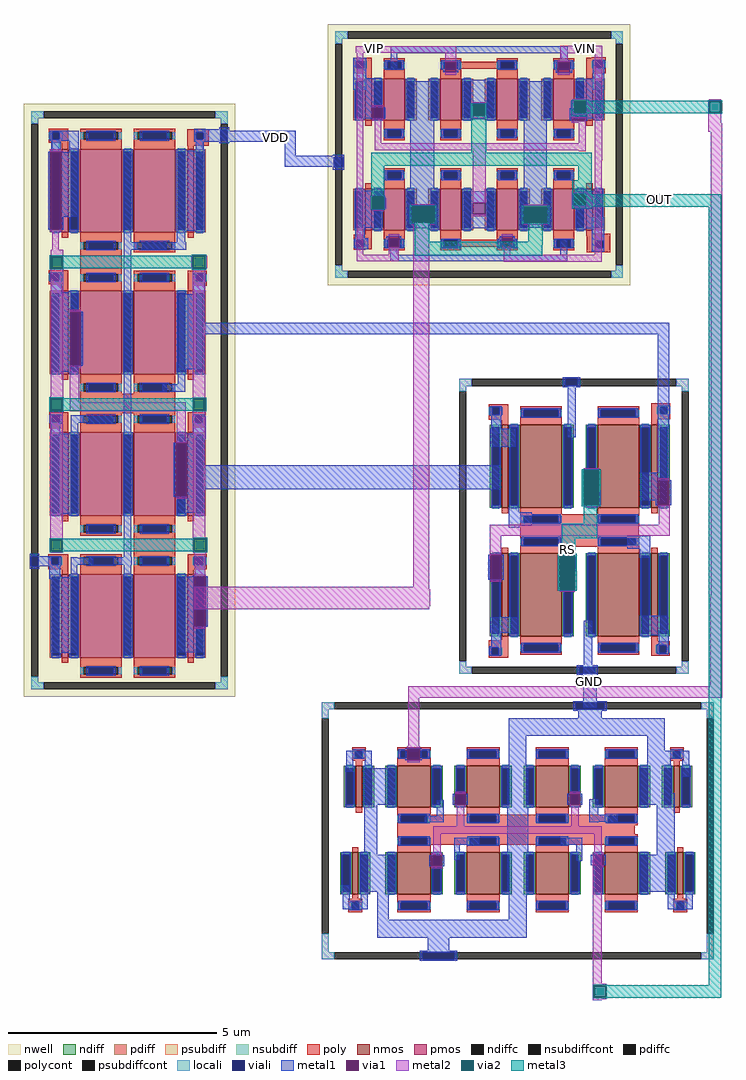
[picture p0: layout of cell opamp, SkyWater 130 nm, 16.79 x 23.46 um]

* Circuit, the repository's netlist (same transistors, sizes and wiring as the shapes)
* NGSPICE file created from opamp.ext - technology: sky130A

.subckt sky130_fd_pr__pfet_01v8_2ZH9AN a_15_n200# a_n15_n226# a_n73_n200# w_n109_n262#
X0 a_15_n200# a_n15_n226# a_n73_n200# w_n109_n262# sky130_fd_pr__pfet_01v8 ad=0.58 pd=4.58 as=0.58 ps=4.58 w=2 l=0.15
.ends

.subckt sky130_fd_pr__pfet_01v8_SDE6B7 a_29_n297# a_n287_n200# a_n229_n297# a_229_n200#
+ a_n29_n200# w_n323_n300#
X0 a_229_n200# a_29_n297# a_n29_n200# w_n323_n300# sky130_fd_pr__pfet_01v8 ad=0.58 pd=4.58 as=0.29 ps=2.29 w=2 l=1
X1 a_n29_n200# a_n229_n297# a_n287_n200# w_n323_n300# sky130_fd_pr__pfet_01v8 ad=0.29 pd=2.29 as=0.58 ps=4.58 w=2 l=1
.ends

.subckt pmoscs VDD D2 D5 D1
Xsky130_fd_pr__pfet_01v8_2ZH9AN_8 VDD VDD VDD VDD sky130_fd_pr__pfet_01v8_2ZH9AN
Xsky130_fd_pr__pfet_01v8_2ZH9AN_9 D5 D5 D5 VDD sky130_fd_pr__pfet_01v8_2ZH9AN
Xsky130_fd_pr__pfet_01v8_2ZH9AN_10 D2 D2 D2 VDD sky130_fd_pr__pfet_01v8_2ZH9AN
Xsky130_fd_pr__pfet_01v8_2ZH9AN_11 D1 D1 D1 VDD sky130_fd_pr__pfet_01v8_2ZH9AN
Xsky130_fd_pr__pfet_01v8_2ZH9AN_12 D1 D1 D1 VDD sky130_fd_pr__pfet_01v8_2ZH9AN
Xsky130_fd_pr__pfet_01v8_2ZH9AN_13 D2 D2 D2 VDD sky130_fd_pr__pfet_01v8_2ZH9AN
Xsky130_fd_pr__pfet_01v8_2ZH9AN_14 VDD VDD VDD VDD sky130_fd_pr__pfet_01v8_2ZH9AN
Xsky130_fd_pr__pfet_01v8_2ZH9AN_15 D5 D5 D5 VDD sky130_fd_pr__pfet_01v8_2ZH9AN
Xsky130_fd_pr__pfet_01v8_SDE6B7_4 VDD D5 D2 VDD VDD VDD sky130_fd_pr__pfet_01v8_SDE6B7
Xsky130_fd_pr__pfet_01v8_SDE6B7_5 D2 D1 D2 D2 VDD VDD sky130_fd_pr__pfet_01v8_SDE6B7
Xsky130_fd_pr__pfet_01v8_SDE6B7_6 D2 D2 D2 D1 VDD VDD sky130_fd_pr__pfet_01v8_SDE6B7
Xsky130_fd_pr__pfet_01v8_SDE6B7_7 D2 VDD VDD D5 VDD VDD sky130_fd_pr__pfet_01v8_SDE6B7
.ends

.subckt sky130_fd_pr__pfet_01v8_BH5GQ5 a_n244_n100# a_300_n100# a_86_n197# w_n552_n200#
+ a_28_n100# a_n186_n197# a_n358_n100# a_186_n100# a_n516_n100# a_358_n197# a_n458_n197#
+ a_458_n100# a_n86_n100#
X0 a_458_n100# a_358_n197# a_300_n100# w_n552_n200# sky130_fd_pr__pfet_01v8 ad=0.29 pd=2.58 as=0.29 ps=2.58 w=1 l=0.5
X1 a_186_n100# a_86_n197# a_28_n100# w_n552_n200# sky130_fd_pr__pfet_01v8 ad=0.29 pd=2.58 as=0.29 ps=2.58 w=1 l=0.5
X2 a_n86_n100# a_n186_n197# a_n244_n100# w_n552_n200# sky130_fd_pr__pfet_01v8 ad=0.29 pd=2.58 as=0.29 ps=2.58 w=1 l=0.5
X3 a_n358_n100# a_n458_n197# a_n516_n100# w_n552_n200# sky130_fd_pr__pfet_01v8 ad=0.29 pd=2.58 as=0.29 ps=2.58 w=1 l=0.5
.ends

.subckt sky130_fd_pr__pfet_01v8_2XUZHN a_n73_n100# w_n109_n162# a_15_n100# a_n15_n126#
X0 a_15_n100# a_n15_n126# a_n73_n100# w_n109_n162# sky130_fd_pr__pfet_01v8 ad=0.29 pd=2.58 as=0.29 ps=2.58 w=1 l=0.15
.ends

.subckt pmos67 VDD VIP VIN D6 D7 S
Xsky130_fd_pr__pfet_01v8_BH5GQ5_1 S S VIN VDD D6 VIN S S D7 VIP VIP D7 D6 sky130_fd_pr__pfet_01v8_BH5GQ5
Xsky130_fd_pr__pfet_01v8_BH5GQ5_2 S S VIP VDD D7 VIP S S D6 VIN VIN D6 D7 sky130_fd_pr__pfet_01v8_BH5GQ5
Xsky130_fd_pr__pfet_01v8_2XUZHN_0 D6 VDD D6 D6 sky130_fd_pr__pfet_01v8_2XUZHN
Xsky130_fd_pr__pfet_01v8_2XUZHN_1 D6 VDD D6 D6 sky130_fd_pr__pfet_01v8_2XUZHN
Xsky130_fd_pr__pfet_01v8_2XUZHN_2 D7 VDD D7 D7 sky130_fd_pr__pfet_01v8_2XUZHN
Xsky130_fd_pr__pfet_01v8_2XUZHN_3 D7 VDD D7 D7 sky130_fd_pr__pfet_01v8_2XUZHN
.ends

.subckt sky130_fd_pr__nfet_01v8_C77M8X a_n304_109# a_n578_21# a_n418_109# a_246_109#
+ a_28_109# a_578_n309# a_360_109# a_n636_109# a_86_21# a_578_109# a_418_21# a_n246_21#
+ a_n86_n309# a_86_n397# a_n246_n397# a_360_n309# a_n86_109# a_n304_n309# a_n418_n309#
+ a_418_n397# a_28_n309# a_n578_n397# a_246_n309# a_n636_n309# VSUBS
X0 a_246_109# a_86_21# a_28_109# VSUBS sky130_fd_pr__nfet_01v8 ad=0.29 pd=2.58 as=0.29 ps=2.58 w=1 l=0.8
X1 a_578_n309# a_418_n397# a_360_n309# VSUBS sky130_fd_pr__nfet_01v8 ad=0.29 pd=2.58 as=0.29 ps=2.58 w=1 l=0.8
X2 a_246_n309# a_86_n397# a_28_n309# VSUBS sky130_fd_pr__nfet_01v8 ad=0.29 pd=2.58 as=0.29 ps=2.58 w=1 l=0.8
X3 a_n418_n309# a_n578_n397# a_n636_n309# VSUBS sky130_fd_pr__nfet_01v8 ad=0.29 pd=2.58 as=0.29 ps=2.58 w=1 l=0.8
X4 a_n86_n309# a_n246_n397# a_n304_n309# VSUBS sky130_fd_pr__nfet_01v8 ad=0.29 pd=2.58 as=0.29 ps=2.58 w=1 l=0.8
X5 a_578_109# a_418_21# a_360_109# VSUBS sky130_fd_pr__nfet_01v8 ad=0.29 pd=2.58 as=0.29 ps=2.58 w=1 l=0.8
X6 a_n418_109# a_n578_21# a_n636_109# VSUBS sky130_fd_pr__nfet_01v8 ad=0.29 pd=2.58 as=0.29 ps=2.58 w=1 l=0.8
X7 a_n86_109# a_n246_21# a_n304_109# VSUBS sky130_fd_pr__nfet_01v8 ad=0.29 pd=2.58 as=0.29 ps=2.58 w=1 l=0.8
.ends

.subckt sky130_fd_pr__nfet_01v8_UPT43B a_15_n131# a_n33_91# a_n73_n131# VSUBS
X0 a_15_n131# a_n33_91# a_n73_n131# VSUBS sky130_fd_pr__nfet_01v8 ad=0.29 pd=2.58 as=0.29 ps=2.58 w=1 l=0.15
.ends

.subckt nmos89 GND D8 D9
Xsky130_fd_pr__nfet_01v8_C77M8X_0 D9 D8 D8 D9 GND GND D8 GND D8 GND D8 D8 GND D8 D8
+ D9 GND D8 D9 D8 GND D8 D8 GND GND sky130_fd_pr__nfet_01v8_C77M8X
Xsky130_fd_pr__nfet_01v8_UPT43B_0 GND GND GND GND sky130_fd_pr__nfet_01v8_UPT43B
Xsky130_fd_pr__nfet_01v8_UPT43B_1 GND GND GND GND sky130_fd_pr__nfet_01v8_UPT43B
Xsky130_fd_pr__nfet_01v8_UPT43B_2 GND GND GND GND sky130_fd_pr__nfet_01v8_UPT43B
Xsky130_fd_pr__nfet_01v8_UPT43B_3 GND GND GND GND sky130_fd_pr__nfet_01v8_UPT43B
.ends

.subckt sky130_fd_pr__nfet_01v8_6C7GGL a_15_n200# a_n15_n226# a_n73_n200# VSUBS
X0 a_15_n200# a_n15_n226# a_n73_n200# VSUBS sky130_fd_pr__nfet_01v8 ad=0.58 pd=4.58 as=0.58 ps=4.58 w=2 l=0.15
.ends

.subckt sky130_fd_pr__nfet_01v8_T4466P a_n286_n597# a_28_109# a_n344_109# a_28_n509#
+ a_n344_n509# a_86_21# a_286_109# a_286_n509# a_n86_109# a_n286_21# a_n86_n509# a_86_n597#
+ VSUBS
X0 a_286_109# a_86_21# a_28_109# VSUBS sky130_fd_pr__nfet_01v8 ad=0.58 pd=4.58 as=0.58 ps=4.58 w=2 l=1
X1 a_n86_n509# a_n286_n597# a_n344_n509# VSUBS sky130_fd_pr__nfet_01v8 ad=0.58 pd=4.58 as=0.58 ps=4.58 w=2 l=1
X2 a_286_n509# a_86_n597# a_28_n509# VSUBS sky130_fd_pr__nfet_01v8 ad=0.58 pd=4.58 as=0.58 ps=4.58 w=2 l=1
X3 a_n86_109# a_n286_21# a_n344_109# VSUBS sky130_fd_pr__nfet_01v8 ad=0.58 pd=4.58 as=0.58 ps=4.58 w=2 l=1
.ends

.subckt nmos34 RS GND D3 D4
Xsky130_fd_pr__nfet_01v8_6C7GGL_0 D3 D3 D3 GND sky130_fd_pr__nfet_01v8_6C7GGL
Xsky130_fd_pr__nfet_01v8_6C7GGL_1 D3 D3 D3 GND sky130_fd_pr__nfet_01v8_6C7GGL
Xsky130_fd_pr__nfet_01v8_6C7GGL_2 D4 D4 D4 GND sky130_fd_pr__nfet_01v8_6C7GGL
Xsky130_fd_pr__nfet_01v8_6C7GGL_3 D4 D4 D4 GND sky130_fd_pr__nfet_01v8_6C7GGL
Xsky130_fd_pr__nfet_01v8_T4466P_0 D3 RS D3 GND D4 D3 D4 D3 GND D3 RS D3 GND sky130_fd_pr__nfet_01v8_T4466P
.ends

.subckt opamp VIN VIP VDD GND RS OUT
Xpmoscs_0 VDD pmoscs_0/D2 pmos67_0/S pmoscs_0/D1 pmoscs
Xpmos67_0 VDD VIP VIN pmos67_0/D6 OUT pmos67_0/S pmos67
Xnmos89_0 GND pmos67_0/D6 OUT nmos89
Xnmos34_0 RS GND pmoscs_0/D1 pmoscs_0/D2 nmos34
.ends

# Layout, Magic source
magic
tech sky130A
magscale 1 2
<< metal1 >>
rect 940 2722 986 2724
rect 940 2668 1308 2722
rect 1254 2601 1308 2668
rect 1254 2547 1526 2601
rect 817 1744 3102 1798
rect 811 998 2291 1113
rect 3048 932 3102 1744
rect 2689 -52 2755 144
rect 1833 -304 1843 -247
rect 1904 -304 1914 -247
<< via1 >>
rect 1843 -304 1904 -247
<< metal2 >>
rect 2646 2872 2702 2874
rect 2636 2864 2702 2872
rect 3294 2866 3350 2872
rect 2636 2808 2646 2864
rect 2636 2780 2702 2808
rect 3291 2863 3353 2866
rect 3291 2807 3294 2863
rect 3350 2807 3353 2863
rect 3291 2756 3353 2807
rect 3291 2717 3357 2756
rect 817 1110 873 1116
rect 817 1040 873 1041
rect 1873 530 1950 2337
rect 820 517 1950 530
rect 820 436 1954 517
rect 3301 487 3357 2717
rect 820 422 1948 436
rect 3300 50 3357 487
rect 1847 -4 3357 50
rect 1847 -237 1901 -4
rect 3301 -5 3357 -4
rect 1843 -247 1904 -237
rect 1843 -314 1904 -304
rect 2735 -1379 2779 -754
rect 2735 -1388 2799 -1379
rect 2735 -1444 2743 -1388
rect 2735 -1453 2799 -1444
rect 2735 -1457 2779 -1453
<< via2 >>
rect 2646 2808 2702 2864
rect 3294 2807 3350 2863
rect 2743 -1444 2799 -1388
<< metal3 >>
rect 2636 2868 2712 2869
rect 2634 2866 2712 2868
rect 3289 2866 3355 2868
rect 2632 2864 3356 2866
rect 2632 2808 2646 2864
rect 2702 2863 3356 2864
rect 2702 2808 3294 2863
rect 2632 2807 3294 2808
rect 3350 2807 3356 2863
rect 2632 2804 3356 2807
rect 2634 2803 2712 2804
rect 2634 2790 2708 2803
rect 3289 2802 3355 2804
rect 2648 2355 3352 2415
rect 2738 -1386 2804 -1383
rect 3292 -1386 3352 2355
rect 2738 -1388 3352 -1386
rect 2738 -1444 2743 -1388
rect 2799 -1444 3352 -1388
rect 2738 -1446 3352 -1444
rect 2738 -1449 2804 -1446
use nmos34  nmos34_0
transform 1 0 2328 0 1 203
box -235 -98 869 1334
use nmos89  nmos89_0
transform 1 0 1738 0 1 -1036
box -306 -232 1579 1016
use pmos67  pmos67_0
transform -1 0 2740 0 1 2672
box -176 -694 1280 562
use pmoscs  pmoscs_0
transform 1 0 39 0 1 -247
box -39 247 977 3097
<< labels >>
flabel metal2 s 2698 3116 2698 3116 0 FreeSans 160 0 0 0 VIN
port 0 nsew
flabel metal2 s 1688 3114 1688 3116 0 FreeSans 160 0 0 0 VIP
port 1 nsew
flabel metal1 s 1210 2688 1210 2688 0 FreeSans 160 0 0 0 VDD
port 2 nsew
flabel metal1 s 2720 72 2720 72 0 FreeSans 160 0 0 0 GND
port 3 nsew
flabel metal3 s 2614 710 2614 710 0 FreeSans 160 0 0 0 RS
port 4 nsew
flabel metal3 s 3054 2390 3054 2390 0 FreeSans 160 0 0 0 OUT
port 5 nsew
<< end >>

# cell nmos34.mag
magic
tech sky130A
magscale 1 2
<< psubdiff >>
rect -235 1291 -175 1325
rect 809 1291 869 1325
rect -235 1265 -201 1291
rect 835 1265 869 1291
rect -235 -59 -201 -33
rect 835 -59 869 -33
rect -235 -93 -175 -59
rect 809 -93 869 -59
<< psubdiffcont >>
rect -175 1291 809 1325
rect -235 -33 -201 1265
rect 835 -33 869 1265
rect -175 -93 809 -59
<< poly >>
rect -92 1188 0 1204
rect -92 1154 -76 1188
rect -42 1154 0 1188
rect -92 1130 0 1154
rect 688 1192 780 1208
rect 688 1158 730 1192
rect 764 1158 780 1192
rect 688 1132 780 1158
rect 58 518 628 674
rect -94 34 0 68
rect -94 0 -78 34
rect -44 0 0 34
rect -94 -16 0 0
rect 688 44 776 64
rect 688 10 726 44
rect 760 10 776 44
rect 688 -6 776 10
<< polycont >>
rect -76 1154 -42 1188
rect 730 1158 764 1192
rect -78 0 -44 34
rect 726 10 760 44
<< locali >>
rect -235 1291 -175 1325
rect 809 1291 869 1325
rect -235 1265 -201 1291
rect 835 1265 869 1291
rect 720 1192 772 1198
rect -82 1188 -34 1190
rect -92 1154 -76 1188
rect -42 1154 -26 1188
rect 714 1158 730 1192
rect 764 1158 780 1192
rect -82 1064 -34 1154
rect 720 1084 772 1158
rect -82 34 -32 138
rect 724 44 772 116
rect -94 0 -78 34
rect -44 0 -28 34
rect 710 10 726 44
rect 760 10 776 44
rect 724 2 772 10
rect -82 -6 -32 0
rect -235 -59 -201 -33
rect 835 -59 869 -33
rect -235 -93 -175 -59
rect 809 -93 869 -59
<< viali >>
rect 274 1325 334 1328
rect 274 1292 334 1325
rect -76 1154 -42 1188
rect 730 1158 764 1192
rect -78 0 -44 34
rect 726 10 760 44
rect 342 -59 418 -58
rect 342 -92 418 -59
<< metal1 >>
rect 262 1328 346 1334
rect 262 1292 274 1328
rect 334 1292 346 1328
rect 262 1286 346 1292
rect -88 1188 -30 1194
rect -88 1154 -76 1188
rect -42 1154 -30 1188
rect -88 1148 -30 1154
rect -82 1086 -34 1148
rect -86 998 36 1086
rect 286 1044 326 1286
rect 718 1192 776 1198
rect 718 1158 730 1192
rect 764 1158 776 1192
rect 718 1152 776 1158
rect 720 1084 772 1152
rect 638 838 770 874
rect 364 718 374 790
rect 430 718 440 790
rect 638 742 720 838
rect 710 718 720 742
rect 774 718 784 838
rect 2 684 54 706
rect 2 620 114 684
rect 2 610 54 620
rect 572 508 684 572
rect -96 360 -86 480
rect -32 360 -22 480
rect 248 400 258 472
rect 314 400 324 472
rect 632 466 684 508
rect -86 104 46 180
rect -82 40 -32 104
rect -90 34 -32 40
rect -90 0 -78 34
rect -44 0 -32 34
rect -90 -6 -32 0
rect 364 -52 404 164
rect 632 116 768 188
rect 632 92 772 116
rect 724 50 772 92
rect 714 44 772 50
rect 714 10 726 44
rect 760 10 772 44
rect 714 4 772 10
rect 724 2 772 4
rect 330 -58 430 -52
rect 330 -92 342 -58
rect 418 -92 430 -58
rect 330 -98 430 -92
<< via1 >>
rect 374 718 430 790
rect 720 718 774 838
rect -86 360 -32 480
rect 258 400 314 472
<< metal2 >>
rect 364 886 436 896
rect 364 708 436 718
rect 720 838 774 848
rect 774 718 777 743
rect 720 708 777 718
rect 723 625 777 708
rect -88 571 777 625
rect -88 490 -34 571
rect -88 480 -32 490
rect -88 458 -86 480
rect -86 350 -32 360
rect 248 480 320 490
rect 248 302 320 312
<< via2 >>
rect 364 790 436 886
rect 364 718 374 790
rect 374 718 430 790
rect 430 718 436 790
rect 248 472 320 480
rect 248 400 258 472
rect 258 400 314 472
rect 314 400 320 472
rect 248 312 320 400
<< metal3 >>
rect 354 886 446 891
rect 354 718 364 886
rect 436 718 446 886
rect 354 713 446 718
rect 364 630 428 713
rect 258 560 428 630
rect 258 485 322 560
rect 238 480 330 485
rect 238 312 248 480
rect 320 312 330 480
rect 238 307 330 312
use sky130_fd_pr__nfet_01v8_6C7GGL  sky130_fd_pr__nfet_01v8_6C7GGL_0
transform 1 0 703 0 1 288
box -73 -226 73 226
use sky130_fd_pr__nfet_01v8_6C7GGL  sky130_fd_pr__nfet_01v8_6C7GGL_1
transform 1 0 -15 0 1 906
box -73 -226 73 226
use sky130_fd_pr__nfet_01v8_6C7GGL  sky130_fd_pr__nfet_01v8_6C7GGL_2
transform 1 0 703 0 1 906
box -73 -226 73 226
use sky130_fd_pr__nfet_01v8_6C7GGL  sky130_fd_pr__nfet_01v8_6C7GGL_3
transform 1 0 -15 0 1 288
box -73 -226 73 226
use sky130_fd_pr__nfet_01v8_T4466P  sky130_fd_pr__nfet_01v8_T4466P_0
transform 1 0 344 0 1 597
box -344 -597 344 597
<< labels >>
flabel metal1 16 664 18 664 0 FreeSans 80 0 0 0 D3
port 0 nsew
flabel metal2 732 646 732 646 0 FreeSans 80 0 0 0 D4
port 1 nsew
flabel metal3 374 688 376 688 0 FreeSans 80 0 0 0 RS
port 2 nsew
flabel metal1 382 2 390 10 0 FreeSans 80 0 0 0 GND
port 3 nsew
<< end >>

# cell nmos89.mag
magic
tech sky130A
magscale 1 2
<< psubdiff >>
rect -306 976 -246 1010
rect 1519 976 1579 1010
rect -306 933 -272 976
rect 1545 933 1579 976
rect -306 -191 -272 -103
rect 1545 -191 1579 -103
rect -306 -225 -246 -191
rect 1519 -225 1579 -191
<< psubdiffcont >>
rect -246 976 1519 1010
rect -306 -103 -272 933
rect 1545 -103 1579 933
rect -246 -225 1519 -191
<< poly >>
rect 56 326 1198 470
<< locali >>
rect -306 976 -246 1010
rect 1519 976 1579 1010
rect -306 933 -272 976
rect -306 -191 -272 -103
rect 1545 933 1579 976
rect 1545 -191 1579 -103
rect -306 -225 -246 -191
rect 1519 -225 1579 -191
<< viali >>
rect 914 976 1053 1010
rect 177 -225 333 -191
rect 177 -226 333 -225
<< metal1 >>
rect 902 1010 1065 1016
rect 902 976 914 1010
rect 1053 976 1065 1010
rect 902 970 1065 976
rect 928 932 1039 970
rect 594 848 1342 932
rect -188 744 -66 778
rect -188 676 -154 744
rect -100 694 -66 744
rect 594 694 678 848
rect 1258 778 1342 848
rect 1258 744 1460 778
rect 1258 694 1372 744
rect -100 575 46 694
rect -101 518 46 575
rect -101 276 -38 518
rect 246 462 281 540
rect 325 518 335 570
rect 387 518 397 570
rect 192 458 281 462
rect 189 434 281 458
rect 330 326 450 360
rect -206 50 -172 130
rect -120 100 46 276
rect 211 222 221 274
rect 273 222 283 274
rect 330 254 358 326
rect 586 100 686 694
rect 1224 572 1372 694
rect 1426 652 1460 744
rect 875 518 885 570
rect 937 518 947 570
rect 981 469 1023 544
rect 1224 518 1390 572
rect 981 435 1118 469
rect 981 434 1023 435
rect 843 326 946 360
rect 917 248 946 326
rect 988 226 998 278
rect 1050 226 1060 278
rect 1304 276 1390 518
rect 1226 100 1390 276
rect -118 50 -84 100
rect -206 16 -84 50
rect -39 -25 15 100
rect -38 -35 15 -25
rect 594 -35 680 100
rect 1356 50 1390 100
rect 1444 50 1478 102
rect 1356 16 1478 50
rect -38 -121 680 -35
rect 204 -185 307 -121
rect 165 -191 345 -185
rect 165 -226 177 -191
rect 333 -226 345 -191
rect 165 -232 345 -226
<< via1 >>
rect 335 518 387 570
rect 221 222 273 274
rect 885 518 937 570
rect 998 226 1050 278
<< metal2 >>
rect 335 570 387 580
rect 335 508 387 518
rect 885 570 937 580
rect 885 508 937 518
rect 344 414 380 508
rect 894 414 930 508
rect 344 413 930 414
rect 231 377 1041 413
rect 231 284 267 377
rect 1005 288 1041 377
rect 221 274 273 284
rect 221 212 273 222
rect 998 278 1050 288
rect 998 216 1050 226
use sky130_fd_pr__nfet_01v8_C77M8X  sky130_fd_pr__nfet_01v8_C77M8X_0
transform 1 0 636 0 1 397
box -636 -397 636 397
use sky130_fd_pr__nfet_01v8_UPT43B  sky130_fd_pr__nfet_01v8_UPT43B_0
transform 1 0 1417 0 -1 157
box -73 -157 73 157
use sky130_fd_pr__nfet_01v8_UPT43B  sky130_fd_pr__nfet_01v8_UPT43B_1
transform 1 0 -127 0 1 637
box -73 -157 73 157
use sky130_fd_pr__nfet_01v8_UPT43B  sky130_fd_pr__nfet_01v8_UPT43B_2
transform 1 0 1401 0 1 637
box -73 -157 73 157
use sky130_fd_pr__nfet_01v8_UPT43B  sky130_fd_pr__nfet_01v8_UPT43B_3
transform 1 0 -145 0 -1 157
box -73 -157 73 157
<< labels >>
flabel viali 948 996 948 996 0 FreeSans 320 0 0 0 GND
port 0 nsew
flabel metal1 262 516 262 516 0 FreeSans 320 0 0 0 D8
port 1 nsew
flabel via1 914 550 914 550 0 FreeSans 320 0 0 0 D9
port 2 nsew
<< end >>

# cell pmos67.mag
magic
tech sky130A
magscale 1 2
<< nwell >>
rect -176 -694 1280 562
<< nsubdiff >>
rect -140 492 -83 526
rect 1184 492 1244 526
rect -140 466 -106 492
rect 1210 466 1244 492
rect -140 -624 -106 -598
rect 1210 -624 1244 -598
rect -140 -658 -83 -624
rect 1184 -658 1244 -624
<< nsubdiffcont >>
rect -83 492 1184 526
rect -140 -598 -106 466
rect 1210 -598 1244 466
rect -83 -658 1184 -624
<< poly >>
rect -56 400 10 401
rect -56 385 37 400
rect -56 351 -40 385
rect -6 351 37 385
rect 1067 384 1154 400
rect -56 326 37 351
rect 382 346 721 380
rect 1067 350 1107 384
rect 1141 350 1154 384
rect 1067 325 1154 350
rect -79 -480 35 -447
rect -79 -493 -45 -480
rect -78 -514 -45 -493
rect -11 -514 35 -480
rect 382 -509 722 -475
rect 1068 -476 1155 -450
rect -78 -534 35 -514
rect 1068 -510 1105 -476
rect 1139 -510 1155 -476
rect 1068 -521 1155 -510
rect 1099 -523 1155 -521
<< polycont >>
rect -40 351 -6 385
rect 1107 350 1141 384
rect -45 -514 -11 -480
rect 1105 -510 1139 -476
<< locali >>
rect -140 492 -83 526
rect 1184 492 1244 526
rect -140 466 -106 492
rect 1210 466 1244 492
rect -56 351 -40 385
rect -6 351 10 385
rect 1095 384 1156 400
rect -49 314 6 351
rect 1091 350 1107 384
rect 1141 350 1156 384
rect -51 247 6 314
rect 1095 246 1156 350
rect -49 -370 9 -367
rect -49 -480 10 -370
rect 1100 -468 1148 -402
rect -51 -514 -45 -480
rect -11 -514 10 -480
rect -49 -533 10 -514
rect 1084 -476 1148 -468
rect 1084 -510 1105 -476
rect 1139 -510 1155 -476
rect 1084 -512 1148 -510
rect 1084 -521 1144 -512
rect -140 -624 -106 -598
rect 1210 -624 1244 -598
rect -140 -658 -83 -624
rect 1184 -658 1244 -624
<< viali >>
rect -40 351 -6 385
rect 1107 350 1141 384
rect 1206 -126 1210 -78
rect 1210 -126 1244 -78
rect 1244 -126 1250 -78
rect -45 -514 -11 -480
rect 1105 -510 1139 -476
<< metal1 >>
rect 126 454 671 455
rect 126 422 976 454
rect -52 385 6 391
rect -52 351 -40 385
rect -6 351 6 385
rect 126 381 159 422
rect -52 345 6 351
rect -49 314 6 345
rect 105 327 115 381
rect 173 327 183 381
rect 652 329 662 381
rect 714 329 724 381
rect 944 347 976 422
rect 1095 384 1156 400
rect 1095 350 1107 384
rect 1141 350 1156 384
rect -51 298 6 314
rect 1095 302 1156 350
rect -51 247 82 298
rect -48 157 82 247
rect -48 108 41 157
rect 31 98 41 108
rect 106 98 116 157
rect 205 111 351 287
rect 475 172 627 294
rect 475 120 527 172
rect 579 120 627 172
rect 227 -242 338 111
rect 475 104 627 120
rect 751 112 898 288
rect 1020 246 1156 302
rect 1020 161 1142 246
rect 767 -241 882 112
rect 1003 107 1013 161
rect 1065 108 1142 161
rect 1065 107 1075 108
rect 1200 -78 1256 -66
rect 1200 -126 1206 -78
rect 1250 -126 1256 -78
rect 1200 -138 1256 -126
rect -42 -254 84 -242
rect -42 -310 38 -254
rect 90 -310 100 -254
rect -42 -367 84 -310
rect -49 -420 84 -367
rect 206 -328 352 -242
rect 206 -380 254 -328
rect 306 -380 352 -328
rect 206 -418 352 -380
rect 480 -296 627 -243
rect 480 -352 519 -296
rect 581 -352 627 -296
rect 480 -419 627 -352
rect 750 -326 897 -241
rect 1014 -273 1140 -240
rect 1001 -325 1011 -273
rect 1063 -325 1140 -273
rect 750 -390 788 -326
rect 858 -390 897 -326
rect 750 -419 897 -390
rect 1014 -402 1140 -325
rect 1014 -418 1148 -402
rect -49 -474 10 -420
rect -51 -480 10 -474
rect -51 -514 -45 -480
rect -11 -514 10 -480
rect -51 -520 10 -514
rect -49 -533 10 -520
rect 128 -546 161 -476
rect 380 -510 390 -458
rect 442 -510 452 -458
rect 925 -510 935 -458
rect 987 -510 997 -458
rect 1100 -468 1148 -418
rect 1084 -470 1148 -468
rect 1084 -476 1151 -470
rect 1084 -510 1105 -476
rect 1139 -510 1151 -476
rect 945 -546 978 -510
rect 1084 -516 1151 -510
rect 1084 -521 1144 -516
rect 128 -579 978 -546
<< via1 >>
rect 115 327 173 381
rect 662 329 714 381
rect 41 98 106 157
rect 527 120 579 172
rect 1013 107 1065 161
rect 38 -310 90 -254
rect 254 -380 306 -328
rect 519 -352 581 -296
rect 1011 -325 1063 -273
rect 788 -390 858 -326
rect 390 -510 442 -458
rect 935 -510 987 -458
<< metal2 >>
rect -40 422 161 457
rect -40 -94 -5 422
rect 126 391 161 422
rect 662 454 714 455
rect 662 423 1144 454
rect 115 381 173 391
rect 115 317 173 327
rect 662 381 714 423
rect 662 319 714 329
rect 525 176 581 186
rect 41 157 106 167
rect 40 98 41 121
rect 525 110 581 120
rect 1013 161 1065 171
rect 40 88 106 98
rect 1013 97 1065 107
rect 40 -12 73 88
rect 519 -12 583 -10
rect 1021 -12 1054 97
rect 40 -45 1054 -12
rect 40 -49 73 -45
rect -38 -547 -5 -94
rect 38 -254 94 -244
rect 519 -296 583 -45
rect 1011 -269 1063 -263
rect 38 -320 94 -310
rect 224 -316 336 -306
rect 581 -352 583 -296
rect 519 -361 583 -352
rect 764 -314 876 -304
rect 1002 -325 1011 -269
rect 1067 -325 1076 -269
rect 519 -362 581 -361
rect 224 -404 336 -394
rect 1011 -335 1063 -325
rect 764 -402 876 -392
rect 390 -458 442 -448
rect 390 -516 442 -510
rect 935 -458 987 -448
rect 401 -547 434 -516
rect 935 -520 987 -510
rect -38 -580 434 -547
rect 937 -547 987 -520
rect 1109 -547 1140 423
rect 937 -578 1140 -547
rect 937 -579 987 -578
<< via2 >>
rect 525 172 581 176
rect 525 120 527 172
rect 527 120 579 172
rect 579 120 581 172
rect 38 -310 90 -254
rect 90 -310 94 -254
rect 224 -328 336 -316
rect 224 -380 254 -328
rect 254 -380 306 -328
rect 306 -380 336 -328
rect 764 -326 876 -314
rect 1011 -273 1067 -269
rect 1011 -325 1063 -273
rect 1063 -325 1067 -273
rect 224 -394 336 -380
rect 764 -390 788 -326
rect 788 -390 858 -326
rect 858 -390 876 -326
rect 764 -392 876 -390
<< metal3 >>
rect 515 176 591 181
rect 515 120 525 176
rect 581 120 591 176
rect 515 115 591 120
rect 518 -56 590 115
rect 10 -120 1071 -56
rect 10 -190 74 -120
rect 10 -194 105 -190
rect 9 -254 105 -194
rect 9 -310 38 -254
rect 94 -310 105 -254
rect 1007 -264 1071 -120
rect 1006 -269 1072 -264
rect 9 -325 105 -310
rect 214 -316 346 -311
rect 214 -394 224 -316
rect 336 -394 346 -316
rect 214 -399 346 -394
rect 754 -314 886 -309
rect 754 -392 764 -314
rect 876 -392 886 -314
rect 1006 -325 1011 -269
rect 1067 -325 1072 -269
rect 1006 -330 1072 -325
rect 754 -397 886 -392
rect 246 -484 316 -399
rect 792 -484 860 -397
rect 246 -500 860 -484
rect 247 -552 860 -500
use sky130_fd_pr__pfet_01v8_2XUZHN  sky130_fd_pr__pfet_01v8_2XUZHN_0
transform 1 0 1083 0 1 200
box -109 -162 109 162
use sky130_fd_pr__pfet_01v8_2XUZHN  sky130_fd_pr__pfet_01v8_2XUZHN_1
transform 1 0 21 0 1 200
box -109 -162 109 162
use sky130_fd_pr__pfet_01v8_2XUZHN  sky130_fd_pr__pfet_01v8_2XUZHN_2
transform 1 0 21 0 1 -329
box -109 -162 109 162
use sky130_fd_pr__pfet_01v8_2XUZHN  sky130_fd_pr__pfet_01v8_2XUZHN_3
transform 1 0 1083 0 1 -329
box -109 -162 109 162
use sky130_fd_pr__pfet_01v8_BH5GQ5  sky130_fd_pr__pfet_01v8_BH5GQ5_1
transform 1 0 552 0 1 -329
box -552 -200 552 200
use sky130_fd_pr__pfet_01v8_BH5GQ5  sky130_fd_pr__pfet_01v8_BH5GQ5_2
transform 1 0 552 0 1 200
box -552 -200 552 200
<< labels >>
flabel viali 1228 -100 1228 -100 0 FreeSans 160 0 0 0 VDD
port 0 nsew
flabel via1 690 360 690 360 0 FreeSans 160 0 0 0 VIP
port 1 nsew
flabel via1 140 364 140 364 0 FreeSans 160 0 0 0 VIN
port 2 nsew
flabel via1 60 140 60 140 0 FreeSans 160 0 0 0 D6
port 3 nsew
flabel via2 62 -278 62 -278 0 FreeSans 160 0 0 0 D7
port 4 nsew
flabel metal1 262 32 262 32 0 FreeSans 1600 0 0 0 S
port 5 nsew
<< end >>

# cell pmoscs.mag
magic
tech sky130A
magscale 1 2
<< nwell >>
rect -39 247 977 3097
<< nsubdiff >>
rect -3 3027 57 3061
rect 881 3027 941 3061
rect -3 3001 31 3027
rect 907 3001 941 3027
rect -3 317 31 343
rect 907 317 941 343
rect -3 283 57 317
rect 881 283 941 317
<< nsubdiffcont >>
rect 57 3027 881 3061
rect -3 343 31 3001
rect 907 343 941 3001
rect 57 283 881 317
<< poly >>
rect 82 2961 174 2977
rect 82 2927 98 2961
rect 132 2927 174 2961
rect 82 2911 174 2927
rect 144 2904 174 2911
rect 746 2961 850 2976
rect 746 2927 790 2961
rect 824 2927 850 2961
rect 746 2896 850 2927
rect 81 2281 174 2297
rect 232 2292 432 2386
rect 81 2247 97 2281
rect 131 2247 174 2281
rect 81 2231 174 2247
rect 129 2224 174 2231
rect 748 2279 840 2296
rect 748 2245 790 2279
rect 824 2245 840 2279
rect 748 2223 840 2245
rect 83 1600 174 1616
rect 232 1610 690 1704
rect 83 1566 99 1600
rect 133 1566 174 1600
rect 83 1539 174 1566
rect 748 1599 836 1615
rect 748 1565 786 1599
rect 820 1565 836 1599
rect 748 1549 836 1565
rect 748 1543 835 1549
rect 78 917 174 933
rect 490 928 690 1024
rect 78 883 95 917
rect 129 883 174 917
rect 78 860 174 883
rect 748 917 841 933
rect 748 883 790 917
rect 824 883 841 917
rect 748 861 841 883
<< polycont >>
rect 98 2927 132 2961
rect 790 2927 824 2961
rect 97 2247 131 2281
rect 790 2245 824 2279
rect 99 1566 133 1600
rect 786 1565 820 1599
rect 95 883 129 917
rect 790 883 824 917
<< locali >>
rect -3 3027 57 3061
rect 881 3027 941 3061
rect -3 3001 31 3027
rect 907 3001 941 3027
rect 780 2961 834 2978
rect 82 2927 98 2961
rect 132 2927 148 2961
rect 780 2927 790 2961
rect 824 2927 834 2961
rect 98 2880 132 2927
rect 780 2918 834 2927
rect 788 2846 824 2918
rect 81 2247 97 2281
rect 131 2247 147 2281
rect 774 2274 790 2279
rect 90 2175 144 2247
rect 773 2245 790 2274
rect 824 2245 840 2279
rect 773 2183 831 2245
rect 706 2178 831 2183
rect 706 1821 824 2178
rect 83 1566 99 1600
rect 133 1566 149 1600
rect 94 1503 137 1566
rect 770 1565 786 1599
rect 820 1565 836 1599
rect 776 1486 835 1565
rect 79 883 95 917
rect 129 883 145 917
rect 774 883 790 917
rect 824 883 840 917
rect 84 814 137 883
rect 782 781 834 883
rect -3 317 31 343
rect 907 317 941 343
rect -3 283 57 317
rect 881 283 941 317
<< viali >>
rect 98 2927 132 2961
rect 790 2927 824 2961
rect 906 2920 907 2972
rect 907 2920 941 2972
rect 941 2920 942 2972
rect 97 2247 131 2281
rect 790 2245 824 2279
rect 99 1566 133 1600
rect 786 1565 820 1599
rect -4 874 -3 922
rect -3 874 30 922
rect 95 883 129 917
rect 790 883 824 917
<< metal1 >>
rect 780 2976 834 2978
rect 900 2976 948 2984
rect 780 2972 948 2976
rect 86 2961 226 2967
rect 86 2927 98 2961
rect 132 2927 226 2961
rect 86 2921 226 2927
rect 92 2880 138 2921
rect 180 2872 226 2921
rect 780 2961 906 2972
rect 780 2927 790 2961
rect 824 2927 906 2961
rect 780 2920 906 2927
rect 942 2920 948 2972
rect 780 2914 948 2920
rect 788 2871 826 2914
rect 900 2908 948 2914
rect 79 2492 89 2868
rect 141 2865 151 2868
rect 141 2554 218 2865
rect 141 2492 151 2554
rect 442 2431 478 2866
rect 691 2488 828 2871
rect 697 2431 738 2488
rect 442 2397 742 2431
rect 85 2281 143 2287
rect 85 2247 97 2281
rect 131 2252 143 2281
rect 131 2247 144 2252
rect 85 2241 144 2247
rect 90 2192 144 2241
rect 90 2175 219 2192
rect 94 2097 219 2175
rect 94 1838 182 2097
rect 234 1838 244 2097
rect 94 1809 219 1838
rect 87 1600 145 1606
rect 87 1566 99 1600
rect 133 1566 145 1600
rect 87 1560 145 1566
rect 187 1564 394 1601
rect 94 1512 137 1560
rect 187 1512 223 1564
rect 91 1128 228 1512
rect -10 922 36 934
rect 83 922 141 923
rect -10 874 -4 922
rect 30 917 141 922
rect 442 918 478 2397
rect 778 2279 836 2285
rect 778 2274 790 2279
rect 773 2245 790 2274
rect 824 2245 836 2279
rect 773 2239 836 2245
rect 773 2183 831 2239
rect 706 2178 831 2183
rect 706 1845 824 2178
rect 702 1821 824 1845
rect 702 1749 737 1821
rect 627 1713 737 1749
rect 774 1599 832 1605
rect 774 1565 786 1599
rect 820 1591 832 1599
rect 820 1565 835 1591
rect 774 1559 835 1565
rect 776 1511 835 1559
rect 696 1486 835 1511
rect 696 1468 831 1486
rect 683 1209 693 1468
rect 745 1209 831 1468
rect 696 1133 831 1209
rect 30 883 95 917
rect 129 883 141 917
rect 30 877 141 883
rect 186 916 218 918
rect 186 881 294 916
rect 390 882 479 918
rect 778 917 836 923
rect 778 883 790 917
rect 824 883 836 917
rect 30 874 138 877
rect -10 862 36 874
rect 84 821 137 874
rect 186 824 218 881
rect 186 821 220 824
rect 84 814 220 821
rect 91 459 220 814
rect 214 448 220 459
rect 442 448 478 882
rect 778 877 836 883
rect 782 826 834 877
rect 770 825 780 826
rect 703 584 780 825
rect 836 584 846 826
rect 703 461 825 584
<< via1 >>
rect 89 2492 141 2868
rect 182 1838 234 2097
rect 693 1209 745 1468
rect 780 584 836 826
<< metal2 >>
rect 89 2868 141 2878
rect 89 2482 141 2492
rect 97 2397 130 2482
rect 90 2364 150 2397
rect 90 2308 92 2364
rect 148 2308 150 2364
rect 90 1691 150 2308
rect 765 2306 774 2366
rect 834 2306 843 2366
rect 182 2097 234 2107
rect 182 1828 234 1838
rect 88 1682 150 1691
rect 148 1622 150 1682
rect 88 1620 150 1622
rect 183 1664 227 1828
rect 774 1680 834 2306
rect 183 1620 740 1664
rect 88 1004 148 1620
rect 696 1478 740 1620
rect 774 1624 776 1680
rect 832 1624 834 1680
rect 693 1468 745 1478
rect 693 1199 745 1209
rect 88 948 90 1004
rect 146 948 148 1004
rect 88 946 148 948
rect 774 1015 834 1624
rect 774 1006 838 1015
rect 774 946 778 1006
rect 90 939 146 946
rect 774 942 838 946
rect 778 937 838 942
rect 782 836 834 937
rect 780 826 836 836
rect 780 574 836 584
<< via2 >>
rect 92 2308 148 2364
rect 774 2306 834 2366
rect 88 1622 148 1682
rect 776 1624 832 1680
rect 90 948 146 1004
rect 778 946 838 1006
<< metal3 >>
rect 87 2366 153 2369
rect 769 2366 839 2371
rect 87 2364 774 2366
rect 87 2308 92 2364
rect 148 2308 774 2364
rect 87 2306 774 2308
rect 834 2306 839 2366
rect 87 2303 153 2306
rect 769 2301 839 2306
rect 83 1682 153 1687
rect 771 1682 837 1685
rect 83 1622 88 1682
rect 148 1680 837 1682
rect 148 1624 776 1680
rect 832 1624 837 1680
rect 148 1622 837 1624
rect 83 1617 153 1622
rect 771 1619 837 1622
rect 85 1006 151 1009
rect 773 1006 843 1011
rect 85 1004 778 1006
rect 85 948 90 1004
rect 146 948 778 1004
rect 85 946 778 948
rect 838 946 843 1006
rect 85 943 151 946
rect 773 941 843 946
use sky130_fd_pr__pfet_01v8_2ZH9AN  sky130_fd_pr__pfet_01v8_2ZH9AN_8
transform 1 0 763 0 1 2680
box -109 -262 109 262
use sky130_fd_pr__pfet_01v8_2ZH9AN  sky130_fd_pr__pfet_01v8_2ZH9AN_9
transform 1 0 159 0 1 2680
box -109 -262 109 262
use sky130_fd_pr__pfet_01v8_2ZH9AN  sky130_fd_pr__pfet_01v8_2ZH9AN_10
transform 1 0 763 0 1 1998
box -109 -262 109 262
use sky130_fd_pr__pfet_01v8_2ZH9AN  sky130_fd_pr__pfet_01v8_2ZH9AN_11
transform 1 0 159 0 1 1998
box -109 -262 109 262
use sky130_fd_pr__pfet_01v8_2ZH9AN  sky130_fd_pr__pfet_01v8_2ZH9AN_12
transform 1 0 763 0 1 1318
box -109 -262 109 262
use sky130_fd_pr__pfet_01v8_2ZH9AN  sky130_fd_pr__pfet_01v8_2ZH9AN_13
transform 1 0 159 0 1 1318
box -109 -262 109 262
use sky130_fd_pr__pfet_01v8_2ZH9AN  sky130_fd_pr__pfet_01v8_2ZH9AN_14
transform 1 0 159 0 1 636
box -109 -262 109 262
use sky130_fd_pr__pfet_01v8_2ZH9AN  sky130_fd_pr__pfet_01v8_2ZH9AN_15
transform 1 0 763 0 1 636
box -109 -262 109 262
use sky130_fd_pr__pfet_01v8_SDE6B7  sky130_fd_pr__pfet_01v8_SDE6B7_4
transform 1 0 461 0 1 2680
box -323 -300 323 300
use sky130_fd_pr__pfet_01v8_SDE6B7  sky130_fd_pr__pfet_01v8_SDE6B7_5
transform 1 0 461 0 1 1998
box -323 -300 323 300
use sky130_fd_pr__pfet_01v8_SDE6B7  sky130_fd_pr__pfet_01v8_SDE6B7_6
transform 1 0 461 0 1 1318
box -323 -300 323 300
use sky130_fd_pr__pfet_01v8_SDE6B7  sky130_fd_pr__pfet_01v8_SDE6B7_7
transform 1 0 461 0 1 636
box -323 -300 323 300
<< labels >>
flabel metal1 868 2944 868 2944 0 FreeSans 160 0 0 0 VDD
port 0 nsew
flabel metal2 206 1722 206 1722 0 FreeSans 160 0 0 0 D1
port 1 nsew
flabel metal1 716 1734 716 1734 0 FreeSans 160 0 0 0 D2
port 2 nsew
flabel metal2 800 1722 800 1722 0 FreeSans 160 0 0 0 D5
port 3 nsew
<< end >>

# cell sky130_fd_pr__pfet_01v8_2ZH9AN: kit device sky130_fd_pr__pfet_01v8, w 2 l 0.15 m 1 nf 1 diffcov 100 polycov 100 guard 0 glc 1 grc 1 gtc 1 gbc 1 tbcov 100 rlcov 100 topc 0 botc 0 poverlap 0 doverlap 1 lmin 0.15 wmin 0.42 compatible {sky130_fd_pr__pfet_01v8 sky130_fd_pr__pfet_01v8_lvt sky130_fd_pr__pfet_01v8_hvt sky130_fd_pr__pfet_g5v0d10v5} full_metal 1 viasrc 100 viadrn 100 viagate 100 viagb 0 viagr 0 viagl 0 viagt 0

# cell sky130_fd_pr__pfet_01v8_SDE6B7: kit device sky130_fd_pr__pfet_01v8, w 2 l 1 m 1 nf 2 diffcov 100 polycov 100 guard 0 glc 1 grc 1 gtc 1 gbc 1 tbcov 100 rlcov 100 topc 1 botc 1 poverlap 0 doverlap 1 lmin 0.15 wmin 0.42 compatible {sky130_fd_pr__pfet_01v8 sky130_fd_pr__pfet_01v8_lvt sky130_fd_pr__pfet_01v8_hvt sky130_fd_pr__pfet_g5v0d10v5} full_metal 1 viasrc 100 viadrn 100 viagate 70 viagb 0 viagr 0 viagl 0 viagt 0

# cell sky130_fd_pr__pfet_01v8_2XUZHN: kit device sky130_fd_pr__pfet_01v8, w 1 l 0.15 m 1 nf 1 diffcov 100 polycov 100 guard 0 glc 1 grc 1 gtc 1 gbc 1 tbcov 100 rlcov 100 topc 0 botc 0 poverlap 0 doverlap 1 lmin 0.15 wmin 0.42 compatible {sky130_fd_pr__pfet_01v8 sky130_fd_pr__pfet_01v8_lvt sky130_fd_pr__pfet_01v8_hvt sky130_fd_pr__pfet_g5v0d10v5} full_metal 1 viasrc 100 viadrn 100 viagate 100 viagb 0 viagr 0 viagl 0 viagt 0

# cell sky130_fd_pr__pfet_01v8_BH5GQ5: kit device sky130_fd_pr__pfet_01v8, w 1 l 0.5 m 1 nf 4 diffcov 100 polycov 100 guard 0 glc 1 grc 1 gtc 1 gbc 1 tbcov 100 rlcov 100 topc 1 botc 1 poverlap 0 doverlap 0 lmin 0.15 wmin 0.42 compatible {sky130_fd_pr__pfet_01v8 sky130_fd_pr__pfet_01v8_lvt sky130_fd_pr__pfet_01v8_hvt sky130_fd_pr__pfet_g5v0d10v5} full_metal 1 viasrc 100 viadrn 100 viagate 100 viagb 0 viagr 0 viagl 0 viagt 0

# cell sky130_fd_pr__nfet_01v8_C77M8X: kit device sky130_fd_pr__nfet_01v8, w 1 l 0.8 m 2 nf 4 diffcov 100 polycov 100 guard 0 glc 1 grc 1 gtc 1 gbc 1 tbcov 100 rlcov 100 topc 1 botc 1 poverlap 0 doverlap 0 lmin 0.15 wmin 0.42 compatible {sky130_fd_pr__nfet_01v8 sky130_fd_pr__nfet_01v8_lvt sky130_fd_bs_flash__special_sonosfet_star sky130_fd_pr__nfet_g5v0d10v5 sky130_fd_pr__nfet_05v0_nvt sky130_fd_pr__nfet_03v3_nvt} full_metal 1 viasrc 100 viadrn 100 viagate 100 viagb 0 viagr 0 viagl 0 viagt 0

# cell sky130_fd_pr__nfet_01v8_UPT43B: kit device sky130_fd_pr__nfet_01v8, w 1 l 0.150 m 1 nf 1 diffcov 100 polycov 100 guard 0 glc 1 grc 1 gtc 1 gbc 1 tbcov 100 rlcov 100 topc 1 botc 0 poverlap 0 doverlap 1 lmin 0.15 wmin 0.42 compatible {sky130_fd_pr__nfet_01v8 sky130_fd_pr__nfet_01v8_lvt sky130_fd_bs_flash__special_sonosfet_star sky130_fd_pr__nfet_g5v0d10v5 sky130_fd_pr__nfet_05v0_nvt sky130_fd_pr__nfet_03v3_nvt} full_metal 1 viasrc 100 viadrn 100 viagate 100 viagb 0 viagr 0 viagl 0 viagt 0

# cell sky130_fd_pr__nfet_01v8_6C7GGL: kit device sky130_fd_pr__nfet_01v8, w 2 l 0.150 m 1 nf 1 diffcov 100 polycov 100 guard 0 glc 1 grc 1 gtc 1 gbc 1 tbcov 100 rlcov 100 topc 0 botc 0 poverlap 0 doverlap 0 lmin 0.15 wmin 0.42 compatible {sky130_fd_pr__nfet_01v8 sky130_fd_pr__nfet_01v8_lvt sky130_fd_bs_flash__special_sonosfet_star sky130_fd_pr__nfet_g5v0d10v5 sky130_fd_pr__nfet_05v0_nvt sky130_fd_pr__nfet_03v3_nvt} full_metal 1 viasrc 100 viadrn 100 viagate 100 viagb 0 viagr 0 viagl 0 viagt 0

# cell sky130_fd_pr__nfet_01v8_T4466P: kit device sky130_fd_pr__nfet_01v8, w 2 l 1 m 2 nf 2 diffcov 100 polycov 100 guard 0 glc 1 grc 1 gtc 1 gbc 1 tbcov 100 rlcov 100 topc 1 botc 1 poverlap 0 doverlap 0 lmin 0.15 wmin 0.42 compatible {sky130_fd_pr__nfet_01v8 sky130_fd_pr__nfet_01v8_lvt sky130_fd_bs_flash__special_sonosfet_star sky130_fd_pr__nfet_g5v0d10v5 sky130_fd_pr__nfet_05v0_nvt sky130_fd_pr__nfet_03v3_nvt} full_metal 1 viasrc 100 viadrn 100 viagate 100 viagb 0 viagr 0 viagl 0 viagt 0
